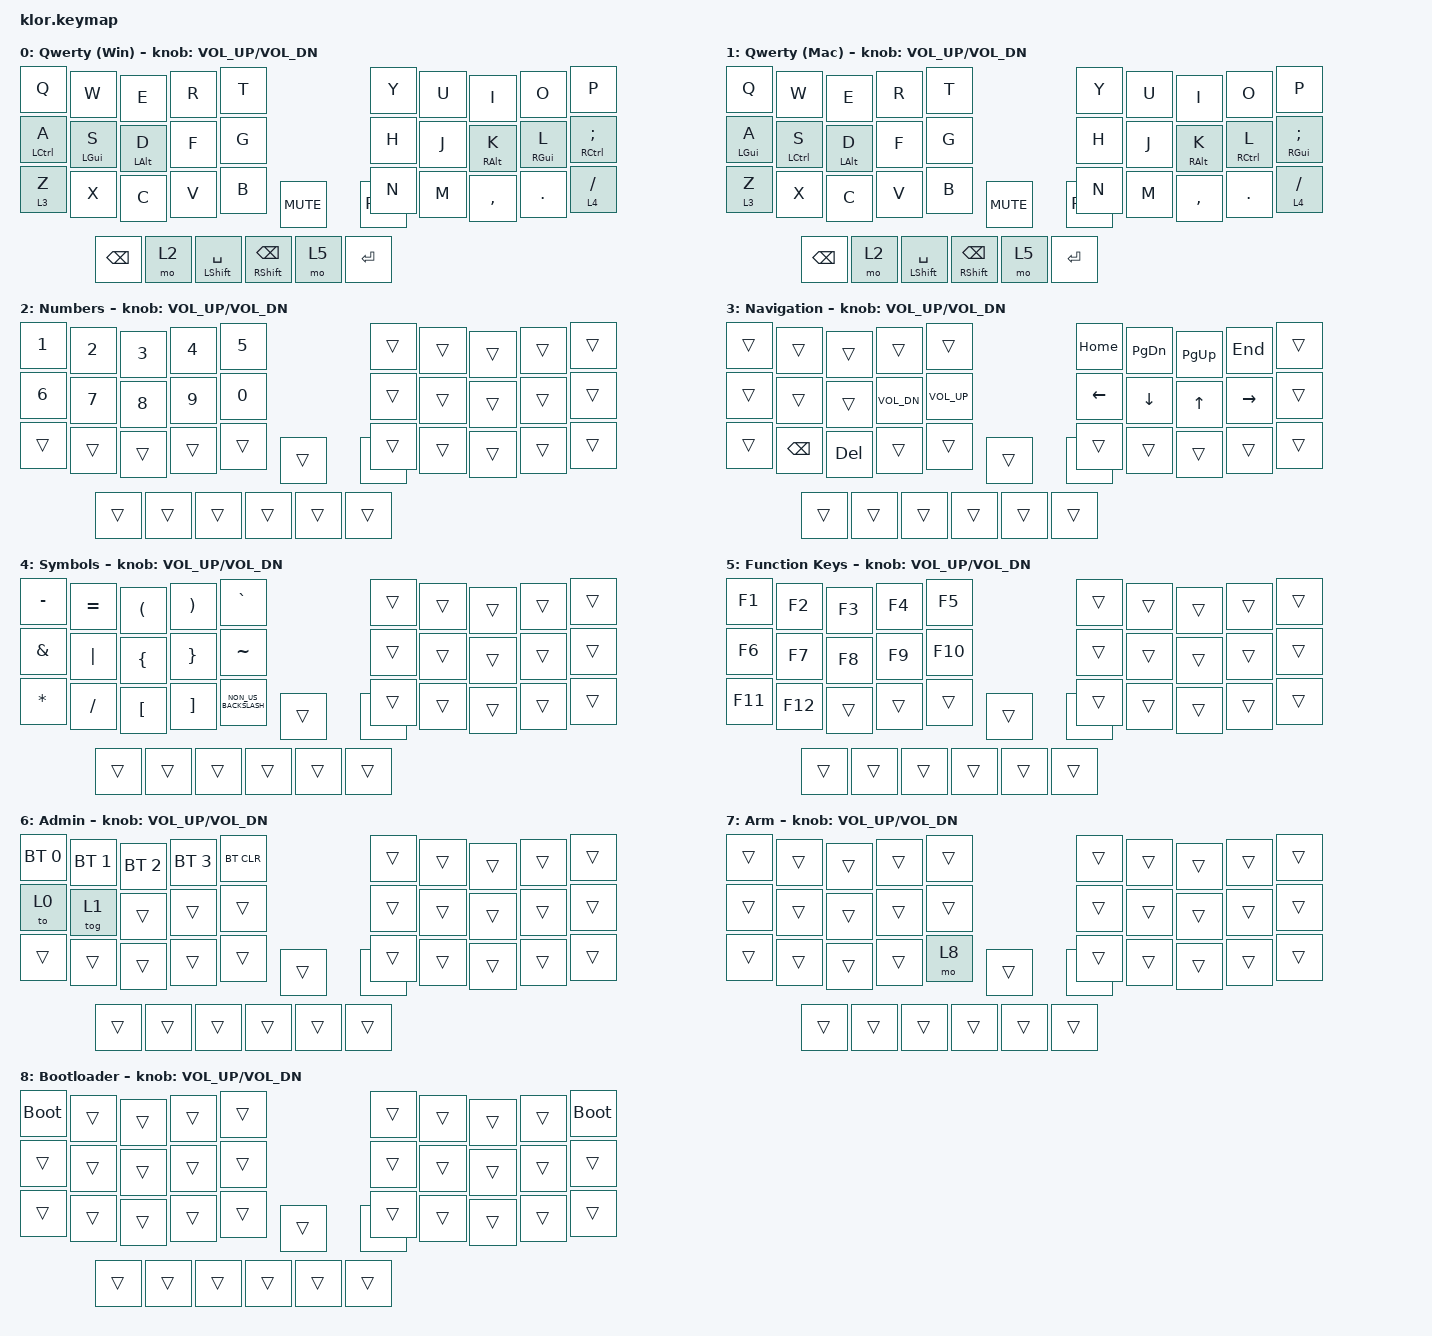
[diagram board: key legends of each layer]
/*
 * Copyright (c) 2020 The ZMK Contributors
 * SPDX-License-Identifier: MIT
 */

/* minimal-test branch: full layer set + hold-tap behaviors + combos, synced
 * to wireless-corne-zmk-config's current keymap (hml/hmr tuning, outer-thumb
 * backspace/enter, win/mac combo variants -- see blecorne.keymap). Still no
 * ZMK Studio (studio_unlock -> trans below), no GATT sync.
 *
 * Position numbering follows the `map` order in klor.dtsi's default_transform:
 *   row0:  0-9    (5 left, 5 right)
 *   row1:  10-19  (5 left, 5 right)
 *   row2:  20-24 left, 25-26 inner media keys, 27-31 right
 *   thumb: 32-34 left, 35-37 right
 */

#include <behaviors.dtsi>
#include <dt-bindings/zmk/bt.h>
#include <dt-bindings/zmk/keys.h>

#define KEYS_L  0  1  2  3  4  10 11 12 13 14 20 21 22 23 24
#define KEYS_R  5  6  7  8  9  15 16 17 18 19 27 28 29 30 31
#define THUMBS  32 33 34 35 36 37

/ {
    behaviors {
        hml: hml {
            compatible = "zmk,behavior-hold-tap";
            #binding-cells = <2>;
            flavor = "balanced";
            tapping-term-ms = <200>;
            quick-tap-ms = <175>;
            require-prior-idle-ms = <150>;
            hold-trigger-key-positions = <KEYS_R THUMBS>;
            hold-trigger-on-release; /* same-hand mod+key (Ctrl+F) works: decided on F's release */
            bindings = <&kp>, <&kp>;
        };

        hmr: hmr {
            compatible = "zmk,behavior-hold-tap";
            #binding-cells = <2>;
            flavor = "balanced";
            tapping-term-ms = <200>;
            quick-tap-ms = <175>;
            require-prior-idle-ms = <150>;
            hold-trigger-key-positions = <KEYS_L THUMBS>;
            hold-trigger-on-release;
            bindings = <&kp>, <&kp>;
        };

        /* Thumb shift/key: tap = key, hold = modifier, tap-then-hold = repeat key */
        thm: thm {
            compatible = "zmk,behavior-hold-tap";
            #binding-cells = <2>;
            flavor = "balanced";
            tapping-term-ms = <200>;
            quick-tap-ms = <175>;
            bindings = <&kp>, <&kp>;
        };
    };

    conditional_layers {
        compatible = "zmk,conditional-layers";

        /* Holding NUM (mo 2) + FUNC (mo 5) simultaneously activates ADMIN (6).
         * Costs no dedicated thumb. Mac toggle in ADMIN resets on power cycle —
         * keyboard always boots in Windows mode, which is intended.
         *
         * ADMIN (then-layer) must be numbered higher than every layer in
         * if-layers -- see admin_layer's comment in the keymap block for why. */

        admin {
            if-layers = <2 5>;
            then-layer = <6>;
        };

        /* Holding NUM (mo 2) + NAV (lt 3, via Z) "arms" B (position 24) with
         * &mo 8 -- see arm_layer's comment. Releasing Num/Nav afterward does
         * NOT drop this: ZMK resolves a key's binding once, at its own
         * press, from whatever layers were active at that instant (see
         * zmk_keymap_position_state_changed's zmk_keymap_active_behavior_layer
         * snapshot in zmk's keymap.c) -- so once B is pressed while this
         * layer is active, B's own hold keeps layer 8 open independent of
         * Num/Nav's state afterward. */

        arm {
            if-layers = <2 3>;
            then-layer = <7>;
        };
    };

    combos {
        compatible = "zmk,combos";

        /* Positions reference layer 0. No 'layers' restriction — combos fire in
         * all contexts (base, MAC overlay, and utility layers). */
        /* Non-adjacent combos — lower roll risk, no prior-idle guard needed */

        combo_tab {
            timeout-ms = <40>;
            key-positions = <0 1>;
            bindings = <&kp TAB>;
        };

        combo_ret {
            timeout-ms = <40>;
            key-positions = <0 3>;
            bindings = <&kp RET>;
        };

        combo_esc {
            timeout-ms = <40>;
            key-positions = <10 13>;
            bindings = <&kp ESC>;
        };

        combo_sqt {
            timeout-ms = <40>;
            key-positions = <18 19>;
            bindings = <&kp SQT>;
        };

        /* Adjacent/roll-prone combos — require-prior-idle-ms 150 gates fast typing
         * rolls. If misfires persist, raise timeout-ms (primary tuning knob).
         *
         * Win/Mac split: base profile layer (0 Qwerty-Win vs 1 Qwerty-Mac)
         * stays active underneath any stacked momentary layer
         * (NUM/NAV/SYM/FUNC/ADMIN), so restricting by base layer here still
         * fires correctly while those are held. */

        combo_undo {
            timeout-ms = <40>;
            require-prior-idle-ms = <150>;
            key-positions = <20 34>;
            layers = <0>;
            bindings = <&kp LC(Z)>;
        };

        combo_undo_mac {
            timeout-ms = <40>;
            require-prior-idle-ms = <150>;
            key-positions = <20 34>;
            layers = <1>;
            bindings = <&kp LG(Z)>;
        };

        combo_cut {
            timeout-ms = <60>;
            require-prior-idle-ms = <150>;
            key-positions = <20 21>;
            layers = <0>;
            bindings = <&kp LC(X)>;
        };

        combo_cut_mac {
            timeout-ms = <60>;
            require-prior-idle-ms = <150>;
            key-positions = <20 21>;
            layers = <1>;
            bindings = <&kp LG(X)>;
        };

        combo_copy {
            timeout-ms = <60>;
            require-prior-idle-ms = <75>;
            key-positions = <21 22>;
            layers = <0>;
            bindings = <&kp LC(C)>;
        };

        combo_copy_mac {
            timeout-ms = <60>;
            require-prior-idle-ms = <75>;
            key-positions = <21 22>;
            layers = <1>;
            bindings = <&kp LG(C)>;
        };

        combo_paste {
            timeout-ms = <60>;
            require-prior-idle-ms = <150>;
            key-positions = <22 23>;
            layers = <0>;
            bindings = <&kp LC(V)>;
        };

        combo_paste_mac {
            timeout-ms = <60>;
            require-prior-idle-ms = <150>;
            key-positions = <22 23>;
            layers = <1>;
            bindings = <&kp LG(V)>;
        };

        /* Both shift thumbs simultaneously → Caps Word */
        combo_caps_word {
            timeout-ms = <50>;
            key-positions = <34 35>;
            bindings = <&caps_word>;
        };
    };

    keymap {
        compatible = "zmk,keymap";

        /* QWERTY WIN — default/base layer (layer 0), Windows homerow mods (GACS).
         * Always boots here; the Mac variant is &tog'd on top from ADMIN.
         * Colemak-DH removed for now (Qwerty only) -- see readme.md. */

        qwerty_win_layer {
            display-name = "Qwerty (Win)";
            bindings = <
&kp Q         &kp W        &kp E        &kp R  &kp T             &kp Y            &kp U  &kp I        &kp O        &kp P
&hml LCTRL A  &hml LGUI S  &hml LALT D  &kp F  &kp G             &kp H            &kp J  &hmr RALT K  &hmr RGUI L  &hmr RCTRL SEMI
&lt 3 Z       &kp X        &kp C        &kp V  &kp B  &kp C_MUTE &kp C_PP  &kp N  &kp M  &kp COMMA    &kp DOT      &lt 4 FSLH
                          &kp BSPC     &mo 2  &thm LSHFT SPACE  &thm RSHFT BSPC  &mo 5  &kp RET
            >;
            sensor-bindings = <&inc_dec_kp C_VOL_UP C_VOL_DN>;
        };

        /* QWERTY MAC — full base layer with macOS homerow mods (Ctrl↔GUI swapped).
         * Activated via &tog 1 from ADMIN. &tog state is runtime-only (not written
         * to NVS), so this layer is always off on power cycle. */

        qwerty_mac_layer {
            display-name = "Qwerty (Mac)";
            bindings = <
&kp Q         &kp W        &kp E        &kp R  &kp T             &kp Y            &kp U  &kp I        &kp O        &kp P
&hml LGUI A   &hml LCTRL S &hml LALT D  &kp F  &kp G             &kp H            &kp J  &hmr RALT K  &hmr RCTRL L &hmr RGUI SEMI
&lt 3 Z       &kp X        &kp C        &kp V  &kp B  &kp C_MUTE &kp C_PP  &kp N  &kp M  &kp COMMA    &kp DOT      &lt 4 FSLH
                          &kp BSPC     &mo 2  &thm LSHFT SPACE  &thm RSHFT BSPC  &mo 5  &kp RET
            >;
            sensor-bindings = <&inc_dec_kp C_VOL_UP C_VOL_DN>;
        };

        /* NUM — left: 1-5 top row, 6-0 homerow; right: &trans */

        num_layer {
            display-name = "Numbers";
            bindings = <
&kp NUMBER_1  &kp NUMBER_2  &kp NUMBER_3  &kp NUMBER_4  &kp N5             &trans  &trans  &trans  &trans  &trans
&kp NUMBER_6  &kp N7        &kp N8        &kp NUMBER_9  &kp NUMBER_0       &trans  &trans  &trans  &trans  &trans
&trans        &trans        &trans        &trans        &trans  &trans    &trans  &trans  &trans  &trans  &trans  &trans
                            &trans        &trans        &trans             &trans  &trans  &trans
            >;
            sensor-bindings = <&inc_dec_kp C_VOL_UP C_VOL_DN>;
        };

        /* NAV — right homerow: hjkl arrows; right top: home/pgup/pgdn/end;
         * right bottom: Ctrl+Left/Right word motions; left: del + vol */

        nav_layer {
            display-name = "Navigation";
            bindings = <
&trans  &trans  &trans      &trans        &trans        &kp HOME  &kp PAGE_DOWN  &kp PAGE_UP  &kp END    &trans
&trans  &trans  &trans      &kp C_VOL_DN  &kp C_VOL_UP  &kp LEFT  &kp DOWN       &kp UP       &kp RIGHT  &trans
&trans  &kp BSPC &kp DELETE &trans        &trans  &trans  &trans  &trans         &trans       &trans     &trans  &trans
                            &trans        &trans        &trans    &trans         &trans       &trans
            >;
            sensor-bindings = <&inc_dec_kp C_VOL_UP C_VOL_DN>;
        };

        sym_layer {
            display-name = "Symbols";
            bindings = <
&kp MINUS      &kp EQUAL  &kp LEFT_PARENTHESIS  &kp RIGHT_PARENTHESIS  &kp GRAVE             &trans  &trans  &trans  &trans  &trans
&kp AMPERSAND  &kp PIPE   &kp LEFT_BRACE        &kp RIGHT_BRACE        &kp TILDE             &trans  &trans  &trans  &trans  &trans
&kp ASTERISK   &kp SLASH  &kp LEFT_BRACKET      &kp RIGHT_BRACKET      &kp NON_US_BACKSLASH  &trans  &trans  &trans  &trans  &trans  &trans  &trans
                          &trans                &trans                 &trans                &trans  &trans  &trans
            >;
            sensor-bindings = <&inc_dec_kp C_VOL_UP C_VOL_DN>;
        };

        func_layer {
            display-name = "Function Keys";
            bindings = <
&kp F1   &kp F2   &kp F3  &kp F4  &kp F5   &trans  &trans  &trans  &trans  &trans
&kp F6   &kp F7   &kp F8  &kp F9  &kp F10  &trans  &trans  &trans  &trans  &trans
&kp F11  &kp F12  &trans  &trans  &trans  &trans   &trans  &trans  &trans  &trans  &trans  &trans
                  &trans  &trans  &trans   &trans  &trans  &trans
            >;
            sensor-bindings = <&inc_dec_kp C_VOL_UP C_VOL_DN>;
        };

        /* ADMIN — conditional: NUM(2) + FUNC(5) held simultaneously. Must be
         * the highest-numbered layer in this file: ZMK resolves each key
         * position from the highest *active* layer down, taking the first
         * non-transparent binding it finds, regardless of which layer is
         * "conditional" -- if ADMIN sat below FUNC (its own trigger), FUNC's
         * real F-key bindings at the same row0/row1 positions would always
         * win the instant the chord fires, making ADMIN's own bindings
         * unreachable. This was a real bug (not just a display quirk): the
         * OLED's "highest active layer" name display surfaced it as
         * permanently showing "Func" while holding the chord, matching what
         * was actually happening -- FUNC's bindings really were winning.
         *
         * Top row left: BT device select 0-3, BT clear.
         * Top row right: unused (sys_reset/bootloader moved to the dedicated
         * Bootloader layer -- see arm_layer/bootloader_layer below).
         * Homerow left: to 0 = back to Qwerty (Win) default (deactivates
         * every other active layer, including whichever &tog is on -- see
         * `&to`'s docs), tog 1 = Qwerty Mac. Colemak-DH removed for now.
         * Homerow right H: studio unlock -- trans for now, no Studio this round.
         * All tog states are runtime-only — always off on power cycle (Qwerty Win default). */

        admin_layer {
            display-name = "Admin";
            bindings = <
&bt BT_SEL 0  &bt BT_SEL 1  &bt BT_SEL 2  &bt BT_SEL 3  &bt BT_CLR  &trans  &trans  &trans  &trans  &trans
&to 0         &tog 1        &trans        &trans        &trans      &trans  &trans  &trans  &trans  &trans
&trans        &trans        &trans        &trans        &trans  &trans   &trans    &trans       &trans  &trans  &trans  &trans
                            &trans        &trans        &trans      &trans          &trans       &trans
            >;
            sensor-bindings = <&inc_dec_kp C_VOL_UP C_VOL_DN>;
        };

        /* ARM — conditional: NUM(2) + NAV(3) held simultaneously "arms" B
         * (position 24) with &mo 8. See conditional_layers's `arm` entry
         * comment for why releasing Num/Nav afterward doesn't drop this --
         * B's own hold is what keeps BOOTLOADER (layer 8) open from here on. */

        arm_layer {
            display-name = "Arm";
            bindings = <
&trans  &trans  &trans  &trans  &trans        &trans  &trans  &trans  &trans  &trans
&trans  &trans  &trans  &trans  &trans        &trans  &trans  &trans  &trans  &trans
&trans  &trans  &trans  &trans  &mo 8  &trans  &trans   &trans  &trans  &trans  &trans  &trans
                        &trans  &trans  &trans          &trans  &trans  &trans
            >;
            sensor-bindings = <&inc_dec_kp C_VOL_UP C_VOL_DN>;
        };

        /* BOOTLOADER — only reachable by holding B after arming it via
         * ARM (Num+Nav), see above. Q and `P` fire plain &bootloader on
         * press; the arm chord is the accidental-press guard. They must be
         * direct position bindings, not combos, to get correct per-half
         * routing on a split (see the zmk-bootloader-hold module README).
         * The module's 3-second &bootloader_hold never fired on hardware
         * (2026-10-30: warn showed, no reboot on either half, root cause
         * not found), so it is not used here.
         *
         * Q (position 0, always physically on the left) reboots the
         * central; `P` (position 9, always physically on the right)
         * reboots the peripheral -- see &bootloader's
         * BEHAVIOR_LOCALITY_EVENT_SOURCE, explained in the module.
         *
         * Reboot the right half BEFORE the left: once the central (left)
         * reboots, it stops running ZMK entirely, so the peripheral has no
         * central left to resolve anything through -- holding `P`
         * afterward does nothing. Don't hold `P` and Q at the same time
         * either: if both fire together, the central's own reboot can cut
         * its BLE radio before the "reboot yourself" message to the
         * peripheral finishes sending, leaving the right half un-rebooted
         * with no indication why. Do them strictly one at a time, right
         * first, fully confirmed, before starting Q. */

        bootloader_layer {
            display-name = "Bootloader";
            bindings = <
&bootloader  &trans  &trans  &trans  &trans        &trans  &trans  &trans  &trans  &bootloader
&trans            &trans  &trans  &trans  &trans        &trans  &trans  &trans  &trans  &trans
&trans            &trans  &trans  &trans  &trans  &trans  &trans   &trans  &trans  &trans  &trans  &trans
                          &trans  &trans  &trans          &trans  &trans  &trans
            >;
            sensor-bindings = <&inc_dec_kp C_VOL_UP C_VOL_DN>;
        };
    };

    /* 1-second "BOOTLOADER" warning (klor_central_widget.c's
     * bootloader_warning_event_cb) at the same two positions. Plain
     * &bootloader reboots on press, so this only shows if the reboot does
     * not happen. `latch` matches this project's one-way display latch. */
    bootloader_warn_left: bootloader_warn_left {
        compatible = "zmk,bootloader-warn";
        layer = <8>;
        position = <0>;
        latch;
    };
    bootloader_warn_right: bootloader_warn_right {
        compatible = "zmk,bootloader-warn";
        layer = <8>;
        position = <9>;
        latch;
    };
};
